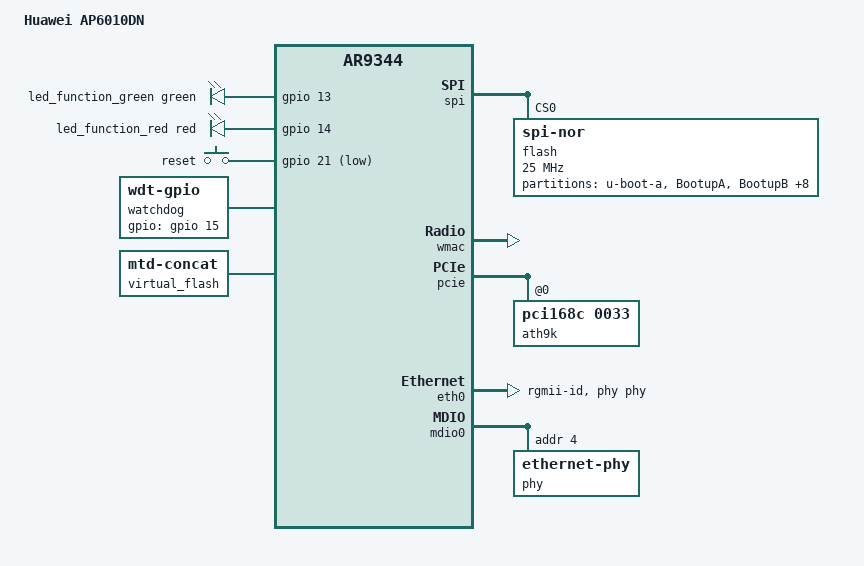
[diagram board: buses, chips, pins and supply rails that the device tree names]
// SPDX-License-Identifier: GPL-2.0-or-later OR MIT

#include "ar9344.dtsi"

#include <dt-bindings/gpio/gpio.h>
#include <dt-bindings/input/input.h>
#include <dt-bindings/leds/common.h>

/ {
	model = "Huawei AP6010DN";
	compatible = "huawei,ap6010dn", "qca,ar9344";

	chosen {
		bootargs = "console=ttyS0,9600n8";
	};

	aliases {
		led-boot = &led_function_green;
		led-failsafe = &led_function_red;
		led-running = &led_function_green;
		led-upgrade = &led_function_red;
		label-mac-device = &eth0;
	};

	leds {
		compatible = "gpio-leds";

		led_function_green: led-status-green {
			function = LED_FUNCTION_STATUS;
			color = <LED_COLOR_ID_GREEN>;
			gpios = <&gpio 13 GPIO_ACTIVE_HIGH>;
		};

		led_function_red: led-status-red {
			function = LED_FUNCTION_STATUS;
			color = <LED_COLOR_ID_RED>;
			gpios = <&gpio 14 GPIO_ACTIVE_HIGH>;
		};

	};

	keys {
		compatible = "gpio-keys";

		restart {
			label = "reset";
			linux,code = <KEY_RESTART>;
			gpios = <&gpio 21 GPIO_ACTIVE_LOW>;
			debounce-interval = <60>;
		};
	};

	watchdog {
		pinctrl-names = "default";
		pinctrl-0 = <&wdt_gpio15>;

		compatible = "linux,wdt-gpio";
		gpios = <&gpio 15 GPIO_ACTIVE_HIGH>;
		hw_algo = "toggle";
		hw_margin_ms = <100>;
		always-running;
	};

	virtual_flash {
		compatible = "mtd-concat";
		devices = <&fwconcat0 &fwconcat1>;

		partitions {
			compatible = "fixed-partitions";
			#address-cells = <1>;
			#size-cells = <1>;

			partition@0 {
				label = "firmware";
				reg = <0x0 0x1e00000>;
				compatible = "openwrt,uimage", "denx,uimage";
			};
		};
	};
};

&spi {
	status = "okay";

	flash@0 {
		compatible = "jedec,spi-nor";
		reg = <0>;
		spi-max-frequency = <25000000>;

		partitions {
			compatible = "fixed-partitions";
			#address-cells = <1>;
			#size-cells = <1>;

			partition@0 {
				label = "u-boot-a";
				reg = <0x0 0x80000>;
				read-only;
			};

			partition@80000 {
				label = "BootupA";
				reg = <0x80000 0x20000>;
			};

			partition@a0000 {
				label = "BootupB";
				reg = <0xa0000 0x20000>;
			};

			partition@c0000 {
				label = "u-boot-env";
				reg = <0xc0000 0x20000>;
				read-only;
			};

			partition@e0000 {
				label = "BoardData";
				reg = <0xe0000 0x20000>;
				read-only;
			};

			// In the vendor layout, there are the "SysImageA" (12 MiB)
			// and the "ConfigA" (3 MiB) partitions here.
			fwconcat0: partition@100000 {
				label = "fwconcat0";
				reg = <0x100000 0xf00000>;
			};

			partition@1000000 {
				label = "u-boot-b";
				reg = <0x1000000 0x80000>;
				read-only;
			};

			partition@1080000 {
				label = "ResultA";
				reg = <0x1080000 0x20000>;
				read-only;
			};

			partition@10a0000 {
				label = "ResultB";
				reg = <0x10a0000 0x20000>;
				read-only;
			};

			// In the vendor layout, there are the "SysImageB" (12 MiB)
			// and the "ConfigB" (3 MiB) partitions here.
			fwconcat1: partition@10c0000 {
				label = "fwconcat1";
				reg = <0x10c0000 0xf00000>;
			};

			art: partition@1fc0000 {
				label = "art";
				reg = <0x1fc0000 0x40000>;
				read-only;

				nvmem-layout {
					compatible = "fixed-layout";
					#address-cells = <1>;
					#size-cells = <1>;

					macaddr_art_2005b: macaddr@2005b {
						compatible = "mac-base";
						reg = <0x2005b 0x6>;
						#nvmem-cell-cells = <1>;
					};

					cal_art_1000: cal@1000 {
						reg = <0x1000 0x440>;
					};

					cal_art_5000: cal@5000 {
						reg = <0x5000 0x844>;
					};
				};
			};
		};
	};
};

&wmac {
	status = "okay";

	nvmem-cells = <&macaddr_art_2005b 1>, <&cal_art_1000>;
	nvmem-cell-names = "mac-address", "calibration";
};

&pcie {
	status = "okay";

	ath9k: wifi@0,0 {
		compatible = "pci168c,0033";
		reg = <0x0000 0 0 0 0>;
		gpio-controller;
		#gpio-cells = <2>;

		nvmem-cells = <&macaddr_art_2005b 2>, <&cal_art_5000>;
		nvmem-cell-names = "mac-address", "calibration";
	};
};

&ref {
	clock-frequency = <40000000>;
};

&eth0 {
	status = "okay";

	nvmem-cells = <&macaddr_art_2005b 0>;
	nvmem-cell-names = "mac-address";

	pll-data = <0x06000000 0x04000101 0x0c001313>;
	phy-mode = "rgmii-id";
	phy-handle = <&phy>;

	gmac-config {
		device = <&gmac>;
		rgmii-gmac0 = <1>;
		rxdv-delay = <3>;
		rxd-delay = <3>;
	};
};

&mdio0 {
	status = "okay";

	phy: ethernet-phy@18 {
		reg = <0x4>;
	};
};

&pinmux {
	wdt_gpio15: pinmux_wdt_gpio15 {
		pinctrl-single,bits = <0xc 0x0 0xFF000000>;
	};
};

&wdt {
	status = "disabled";
};
